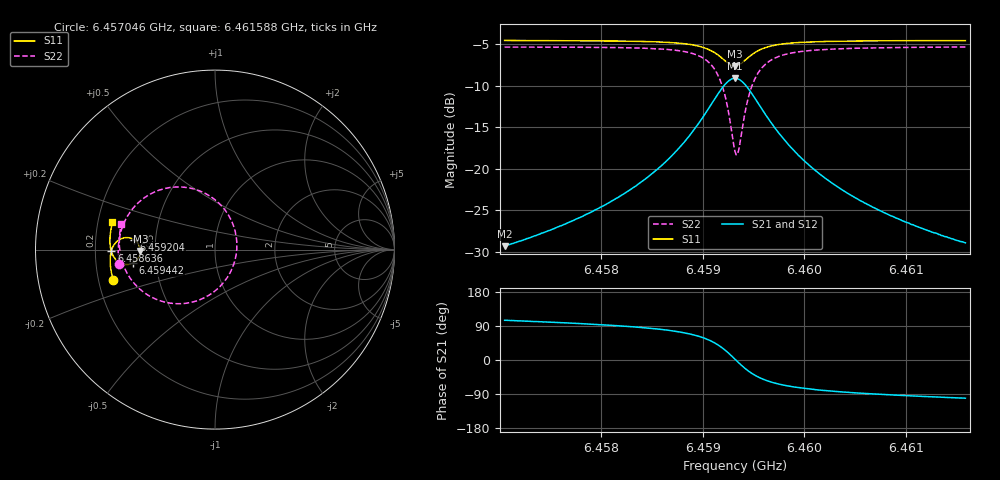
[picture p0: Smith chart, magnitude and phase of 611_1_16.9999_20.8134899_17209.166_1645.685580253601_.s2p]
#  HZ  S  RI  R  50.00
! Rohde & Schwarz Vector Network Analyzer
! Rohde-Schwarz,ZNB20-2Port,1311601062101988,3.16
! Created: UTC 3/20/2024, 11:19:25 PM
! freq[Hz]  re:S11  im:S11  re:S21  im:S21  re:S12  im:S12  re:S22  im:S22
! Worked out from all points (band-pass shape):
!   401 points, 6.457046 GHz to 6.461588 GHz, reference 50 ohm
!   highest |S21| = -9.11 dB at 6.459317 GHz (marker M1); lowest = -29.3 dB at 6.457046 GHz (marker M2)
!   |S21| within 3 dB of the highest: 6.45909 GHz to 6.459545 GHz (454.9 kHz wide, 0.00704 % of centre)
!   lowest |S11| = -7.6 dB at 6.459317 GHz (marker M3), VSWR 2.42, Z = 20.6 - j0.394 ohm
!   |S11| at or under -10 dB: nowhere
!   |S22| runs from -18.3 to -5.3 dB; largest |S21 - S12| = 0.014
!   S11 on the Smith chart (normalised r, x): 6.457046 GHz: 0.26, -0.13; 6.458636 GHz: 0.27, -0.01; 6.459204 GHz: 0.38, +0.05; 6.459442 GHz: 0.37, -0.07; 6.461588 GHz: 0.26, +0.12
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6.4570464e9  -0.5682 -0.1669  -0.00871 0.033  -0.00694 0.0329  -0.5344 -0.0783
6.4578071e9  -0.5814 -0.0999  -0.00526 0.0511  -0.00263 0.0505  -0.5386 0.0117
6.4582386e9  -0.5839 -0.0565  0.0013 0.0717  0.00452 0.0701  -0.5292 0.0814
6.4585679e9  -0.5798 -0.0166  0.015 0.0999  0.0192 0.0971  -0.5032 0.1572
6.458636e9  -0.5773 -0.00705  0.0205 0.1085  0.0247 0.1052  -0.4928 0.1772
6.4588404e9  -0.5633 0.0252  0.0502 0.1418  0.0542 0.1366  -0.4374 0.2513
6.4589767e9  -0.5415 0.0496  0.0937 0.1702  0.0969 0.1635  -0.3569 0.3112
6.4591129e9  -0.497 0.067  0.1821 0.1865  0.183 0.1789  -0.1951 0.3492
6.4592037e9  -0.452 0.0562  0.273 0.1545  0.2731 0.1485  -0.0266 0.2968
6.4592719e9  -0.4227 0.0235  0.3338 0.0813  0.3361 0.0761  0.0899 0.1649
6.4593173e9  -0.4158 -0.0079  0.35 0.0125  0.354 0.00549  0.1219 0.0357
6.4593514e9  -0.4198 -0.0319  0.3439 -0.0406  0.3481 -0.05  0.1097 -0.0653
6.4593968e9  -0.4357 -0.0585  0.3149 -0.1013  0.3172 -0.1134  0.0503 -0.18
6.4594422e9  -0.4581 -0.0749  0.272 -0.1427  0.2712 -0.1562  -0.0365 -0.2557
6.459533e9  -0.502 -0.0819  0.1859 -0.174  0.1795 -0.1858  -0.2084 -0.3015
6.4596012e9  -0.5266 -0.0745  0.1368 -0.1717  0.1287 -0.1809  -0.3034 -0.2859
6.4596806e9  -0.5464 -0.0614  0.0968 -0.1594  0.088 -0.1657  -0.3785 -0.2505
6.4598396e9  -0.5682 -0.0334  0.0516 -0.1309  0.0436 -0.1336  -0.4598 -0.177
6.460078e9  -0.581 0.00203  0.0222 -0.0986  0.0161 -0.0992  -0.5079 -0.0933
6.46043e9  -0.5854 0.0442  0.00582 -0.0707  0.0017 -0.0701  -0.5296 -0.0113
6.4608388e9  -0.5835 0.0854  -0.00164 -0.0525  -0.00462 -0.0516  -0.5332 0.0548
6.4615882e9  -0.5713 0.1519  -0.00671 -0.0351  -0.0085 -0.0341  -0.5216 0.1445
